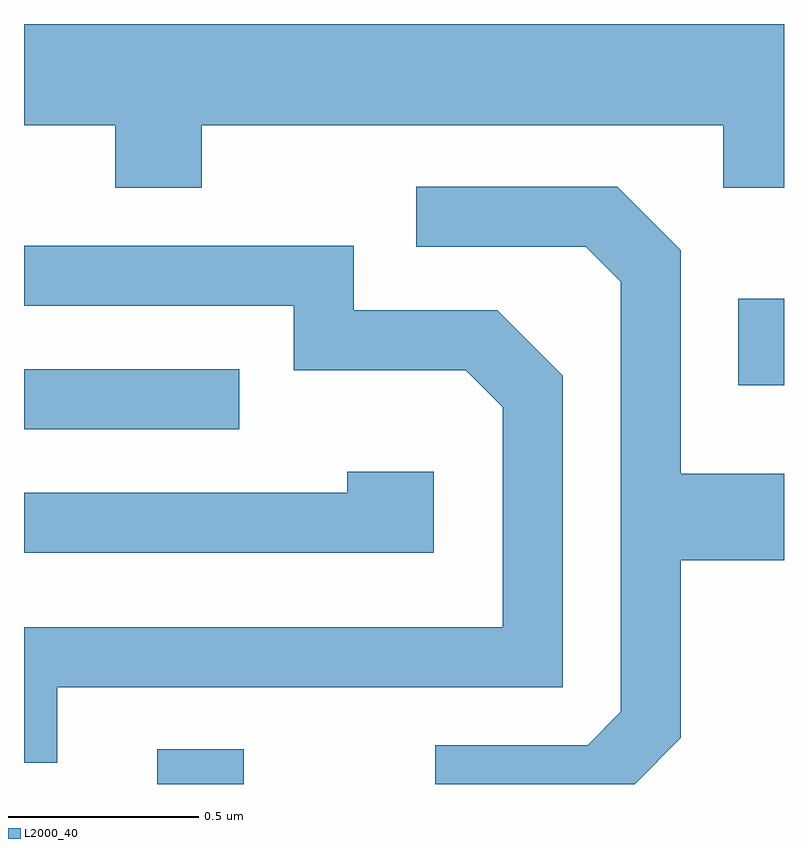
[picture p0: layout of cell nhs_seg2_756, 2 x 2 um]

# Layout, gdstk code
import gdstk
lib = gdstk.Library(unit=1e-6, precision=1e-09)
def R(c, l, rs):  # rectangles x0, y0, x1, y1
    for r in rs: c.add(gdstk.rectangle(r[:2], r[2:], *l))
def P(c, l, *ps):  # polygons
    for p in ps: c.add(gdstk.Polygon(p, *l))
L2000_40 = (2000, 40)

nhs_seg2_756 = lib.new_cell('nhs_seg2_756')
R(nhs_seg2_756, L2000_40, [(190.961,1048.802,191.189,1048.894), (190.611,1049.736,191.178,1049.894), (192.491,1049.851,192.611,1050.079)])
P(nhs_seg2_756, L2000_40, [(191.079,1050.536),(192.451,1050.536),(192.451,1050.371),(192.611,1050.371),(192.611,1050.802),(190.611,1050.802),(190.611,1050.536),(190.851,1050.536),(190.851,1050.371),(191.079,1050.371)],
  [(192.339,1048.924),(192.339,1049.391),(192.611,1049.391),(192.611,1049.619),(192.339,1049.619),(192.339,1050.207),(192.172,1050.374),(191.643,1050.374),(191.643,1050.216),(192.089,1050.216),(192.181,1050.124),(192.181,1048.992),(192.094,1048.904),(191.693,1048.904),(191.693,1048.802),(192.218,1048.802)],
  [(190.699,1049.056),(192.029,1049.056),(192.029,1049.877),(191.857,1050.049),(191.479,1050.049),(191.479,1050.219),(190.611,1050.219),(190.611,1050.061),(191.321,1050.061),(191.321,1049.891),(191.774,1049.891),(191.871,1049.794),(191.871,1049.214),(190.611,1049.214),(190.611,1048.858),(190.699,1048.858)],
  [(191.689,1049.624),(191.461,1049.624),(191.461,1049.569),(190.611,1049.569),(190.611,1049.411),(191.689,1049.411)])

lib.write_gds('nhs_seg2_756.gds')
